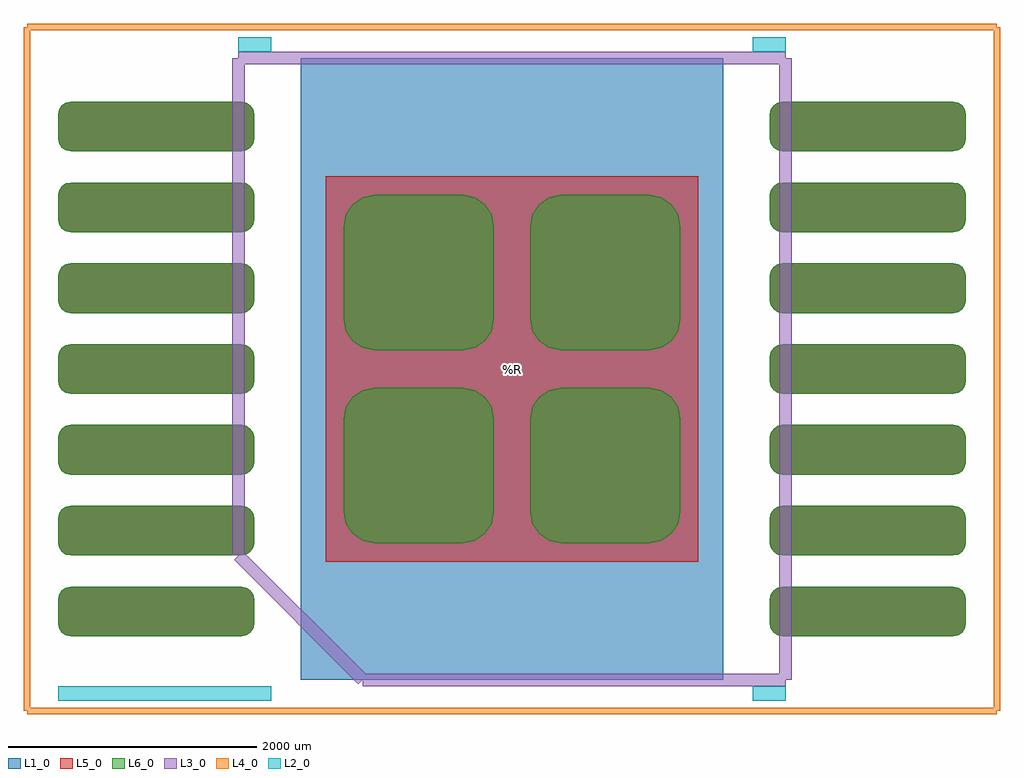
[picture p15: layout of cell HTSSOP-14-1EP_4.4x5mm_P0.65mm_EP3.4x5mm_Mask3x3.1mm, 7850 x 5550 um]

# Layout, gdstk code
import gdstk
lib = gdstk.Library(unit=1e-6, precision=1e-09)
def R(c, l, rs):  # rectangles x0, y0, x1, y1
    for r in rs: c.add(gdstk.rectangle(r[:2], r[2:], *l))
def P(c, l, *ps):  # polygons
    for p in ps: c.add(gdstk.Polygon(p, *l))
L1_0 = (1, 0)
L2_0 = (2, 0)
L3_0 = (3, 0)
L4_0 = (4, 0)
L5_0 = (5, 0)
L6_0 = (6, 0)

htssop_14_1ep_4_4x5mm_p0 = lib.new_cell('HTSSOP-14-1EP_4.4x5mm_P0.65mm_EP3.4x5mm_Mask3x3.1mm')
R(htssop_14_1ep_4_4x5mm_p0, L1_0, [(-1700,-2500,1700,2500)])
P(htssop_14_1ep_4_4x5mm_p0, L1_0, [(-2175,-2150),(-2137,-2142),(-2104,-2121),(-2083,-2088),(-2075,-2050),(-2075,-1850),(-2083,-1812),(-2104,-1779),(-2137,-1758),(-2175,-1750),(-3550,-1750),(-3588,-1758),(-3621,-1779),(-3642,-1812),(-3650,-1850),(-3650,-2050),(-3642,-2088),(-3621,-2121),(-3588,-2142),(-3550,-2150)],
  [(-2175,-1500),(-2137,-1492),(-2104,-1471),(-2083,-1438),(-2075,-1400),(-2075,-1200),(-2083,-1162),(-2104,-1129),(-2137,-1108),(-2175,-1100),(-3550,-1100),(-3588,-1108),(-3621,-1129),(-3642,-1162),(-3650,-1200),(-3650,-1400),(-3642,-1438),(-3621,-1471),(-3588,-1492),(-3550,-1500)],
  [(-2175,-850),(-2137,-842),(-2104,-821),(-2083,-788),(-2075,-750),(-2075,-550),(-2083,-512),(-2104,-479),(-2137,-458),(-2175,-450),(-3550,-450),(-3588,-458),(-3621,-479),(-3642,-512),(-3650,-550),(-3650,-750),(-3642,-788),(-3621,-821),(-3588,-842),(-3550,-850)],
  [(-2175,-200),(-2137,-192),(-2104,-171),(-2083,-138),(-2075,-100),(-2075,100),(-2083,138),(-2104,171),(-2137,192),(-2175,200),(-3550,200),(-3588,192),(-3621,171),(-3642,138),(-3650,100),(-3650,-100),(-3642,-138),(-3621,-171),(-3588,-192),(-3550,-200)],
  [(-2175,450),(-2137,458),(-2104,479),(-2083,512),(-2075,550),(-2075,750),(-2083,788),(-2104,821),(-2137,842),(-2175,850),(-3550,850),(-3588,842),(-3621,821),(-3642,788),(-3650,750),(-3650,550),(-3642,512),(-3621,479),(-3588,458),(-3550,450)],
  [(-2175,1100),(-2137,1108),(-2104,1129),(-2083,1162),(-2075,1200),(-2075,1400),(-2083,1438),(-2104,1471),(-2137,1492),(-2175,1500),(-3550,1500),(-3588,1492),(-3621,1471),(-3642,1438),(-3650,1400),(-3650,1200),(-3642,1162),(-3621,1129),(-3588,1108),(-3550,1100)],
  [(-2175,1750),(-2137,1758),(-2104,1779),(-2083,1812),(-2075,1850),(-2075,2050),(-2083,2088),(-2104,2121),(-2137,2142),(-2175,2150),(-3550,2150),(-3588,2142),(-3621,2121),(-3642,2088),(-3650,2050),(-3650,1850),(-3642,1812),(-3621,1779),(-3588,1758),(-3550,1750)],
  [(3550,1750),(3588,1758),(3621,1779),(3642,1812),(3650,1850),(3650,2050),(3642,2088),(3621,2121),(3588,2142),(3550,2150),(2175,2150),(2137,2142),(2104,2121),(2083,2088),(2075,2050),(2075,1850),(2083,1812),(2104,1779),(2137,1758),(2175,1750)],
  [(3550,1100),(3588,1108),(3621,1129),(3642,1162),(3650,1200),(3650,1400),(3642,1438),(3621,1471),(3588,1492),(3550,1500),(2175,1500),(2137,1492),(2104,1471),(2083,1438),(2075,1400),(2075,1200),(2083,1162),(2104,1129),(2137,1108),(2175,1100)],
  [(3550,450),(3588,458),(3621,479),(3642,512),(3650,550),(3650,750),(3642,788),(3621,821),(3588,842),(3550,850),(2175,850),(2137,842),(2104,821),(2083,788),(2075,750),(2075,550),(2083,512),(2104,479),(2137,458),(2175,450)],
  [(3550,-200),(3588,-192),(3621,-171),(3642,-138),(3650,-100),(3650,100),(3642,138),(3621,171),(3588,192),(3550,200),(2175,200),(2137,192),(2104,171),(2083,138),(2075,100),(2075,-100),(2083,-138),(2104,-171),(2137,-192),(2175,-200)],
  [(3550,-850),(3588,-842),(3621,-821),(3642,-788),(3650,-750),(3650,-550),(3642,-512),(3621,-479),(3588,-458),(3550,-450),(2175,-450),(2137,-458),(2104,-479),(2083,-512),(2075,-550),(2075,-750),(2083,-788),(2104,-821),(2137,-842),(2175,-850)],
  [(3550,-1500),(3588,-1492),(3621,-1471),(3642,-1438),(3650,-1400),(3650,-1200),(3642,-1162),(3621,-1129),(3588,-1108),(3550,-1100),(2175,-1100),(2137,-1108),(2104,-1129),(2083,-1162),(2075,-1200),(2075,-1400),(2083,-1438),(2104,-1471),(2137,-1492),(2175,-1500)],
  [(3550,-2150),(3588,-2142),(3621,-2121),(3642,-2088),(3650,-2050),(3650,-1850),(3642,-1812),(3621,-1779),(3588,-1758),(3550,-1750),(2175,-1750),(2137,-1758),(2104,-1779),(2083,-1812),(2075,-1850),(2075,-2050),(2083,-2088),(2104,-2121),(2137,-2142),(2175,-2150)])
R(htssop_14_1ep_4_4x5mm_p0, L5_0, [(-1500,-1550,1500,1550)])
P(htssop_14_1ep_4_4x5mm_p0, L5_0, [(-2175,-2150),(-2137,-2142),(-2104,-2121),(-2083,-2088),(-2075,-2050),(-2075,-1850),(-2083,-1812),(-2104,-1779),(-2137,-1758),(-2175,-1750),(-3550,-1750),(-3588,-1758),(-3621,-1779),(-3642,-1812),(-3650,-1850),(-3650,-2050),(-3642,-2088),(-3621,-2121),(-3588,-2142),(-3550,-2150)],
  [(-2175,-1500),(-2137,-1492),(-2104,-1471),(-2083,-1438),(-2075,-1400),(-2075,-1200),(-2083,-1162),(-2104,-1129),(-2137,-1108),(-2175,-1100),(-3550,-1100),(-3588,-1108),(-3621,-1129),(-3642,-1162),(-3650,-1200),(-3650,-1400),(-3642,-1438),(-3621,-1471),(-3588,-1492),(-3550,-1500)],
  [(-2175,-850),(-2137,-842),(-2104,-821),(-2083,-788),(-2075,-750),(-2075,-550),(-2083,-512),(-2104,-479),(-2137,-458),(-2175,-450),(-3550,-450),(-3588,-458),(-3621,-479),(-3642,-512),(-3650,-550),(-3650,-750),(-3642,-788),(-3621,-821),(-3588,-842),(-3550,-850)],
  [(-2175,-200),(-2137,-192),(-2104,-171),(-2083,-138),(-2075,-100),(-2075,100),(-2083,138),(-2104,171),(-2137,192),(-2175,200),(-3550,200),(-3588,192),(-3621,171),(-3642,138),(-3650,100),(-3650,-100),(-3642,-138),(-3621,-171),(-3588,-192),(-3550,-200)],
  [(-2175,450),(-2137,458),(-2104,479),(-2083,512),(-2075,550),(-2075,750),(-2083,788),(-2104,821),(-2137,842),(-2175,850),(-3550,850),(-3588,842),(-3621,821),(-3642,788),(-3650,750),(-3650,550),(-3642,512),(-3621,479),(-3588,458),(-3550,450)],
  [(-2175,1100),(-2137,1108),(-2104,1129),(-2083,1162),(-2075,1200),(-2075,1400),(-2083,1438),(-2104,1471),(-2137,1492),(-2175,1500),(-3550,1500),(-3588,1492),(-3621,1471),(-3642,1438),(-3650,1400),(-3650,1200),(-3642,1162),(-3621,1129),(-3588,1108),(-3550,1100)],
  [(-2175,1750),(-2137,1758),(-2104,1779),(-2083,1812),(-2075,1850),(-2075,2050),(-2083,2088),(-2104,2121),(-2137,2142),(-2175,2150),(-3550,2150),(-3588,2142),(-3621,2121),(-3642,2088),(-3650,2050),(-3650,1850),(-3642,1812),(-3621,1779),(-3588,1758),(-3550,1750)],
  [(3550,1750),(3588,1758),(3621,1779),(3642,1812),(3650,1850),(3650,2050),(3642,2088),(3621,2121),(3588,2142),(3550,2150),(2175,2150),(2137,2142),(2104,2121),(2083,2088),(2075,2050),(2075,1850),(2083,1812),(2104,1779),(2137,1758),(2175,1750)],
  [(3550,1100),(3588,1108),(3621,1129),(3642,1162),(3650,1200),(3650,1400),(3642,1438),(3621,1471),(3588,1492),(3550,1500),(2175,1500),(2137,1492),(2104,1471),(2083,1438),(2075,1400),(2075,1200),(2083,1162),(2104,1129),(2137,1108),(2175,1100)],
  [(3550,450),(3588,458),(3621,479),(3642,512),(3650,550),(3650,750),(3642,788),(3621,821),(3588,842),(3550,850),(2175,850),(2137,842),(2104,821),(2083,788),(2075,750),(2075,550),(2083,512),(2104,479),(2137,458),(2175,450)],
  [(3550,-200),(3588,-192),(3621,-171),(3642,-138),(3650,-100),(3650,100),(3642,138),(3621,171),(3588,192),(3550,200),(2175,200),(2137,192),(2104,171),(2083,138),(2075,100),(2075,-100),(2083,-138),(2104,-171),(2137,-192),(2175,-200)],
  [(3550,-850),(3588,-842),(3621,-821),(3642,-788),(3650,-750),(3650,-550),(3642,-512),(3621,-479),(3588,-458),(3550,-450),(2175,-450),(2137,-458),(2104,-479),(2083,-512),(2075,-550),(2075,-750),(2083,-788),(2104,-821),(2137,-842),(2175,-850)],
  [(3550,-1500),(3588,-1492),(3621,-1471),(3642,-1438),(3650,-1400),(3650,-1200),(3642,-1162),(3621,-1129),(3588,-1108),(3550,-1100),(2175,-1100),(2137,-1108),(2104,-1129),(2083,-1162),(2075,-1200),(2075,-1400),(2083,-1438),(2104,-1471),(2137,-1492),(2175,-1500)],
  [(3550,-2150),(3588,-2142),(3621,-2121),(3642,-2088),(3650,-2050),(3650,-1850),(3642,-1812),(3621,-1779),(3588,-1758),(3550,-1750),(2175,-1750),(2137,-1758),(2104,-1779),(2083,-1812),(2075,-1850),(2075,-2050),(2083,-2088),(2104,-2121),(2137,-2142),(2175,-2150)])
P(htssop_14_1ep_4_4x5mm_p0, L6_0, [(-2175,-2150),(-2137,-2142),(-2104,-2121),(-2083,-2088),(-2075,-2050),(-2075,-1850),(-2083,-1812),(-2104,-1779),(-2137,-1758),(-2175,-1750),(-3550,-1750),(-3588,-1758),(-3621,-1779),(-3642,-1812),(-3650,-1850),(-3650,-2050),(-3642,-2088),(-3621,-2121),(-3588,-2142),(-3550,-2150)],
  [(-2175,-1500),(-2137,-1492),(-2104,-1471),(-2083,-1438),(-2075,-1400),(-2075,-1200),(-2083,-1162),(-2104,-1129),(-2137,-1108),(-2175,-1100),(-3550,-1100),(-3588,-1108),(-3621,-1129),(-3642,-1162),(-3650,-1200),(-3650,-1400),(-3642,-1438),(-3621,-1471),(-3588,-1492),(-3550,-1500)],
  [(-2175,-850),(-2137,-842),(-2104,-821),(-2083,-788),(-2075,-750),(-2075,-550),(-2083,-512),(-2104,-479),(-2137,-458),(-2175,-450),(-3550,-450),(-3588,-458),(-3621,-479),(-3642,-512),(-3650,-550),(-3650,-750),(-3642,-788),(-3621,-821),(-3588,-842),(-3550,-850)],
  [(-2175,-200),(-2137,-192),(-2104,-171),(-2083,-138),(-2075,-100),(-2075,100),(-2083,138),(-2104,171),(-2137,192),(-2175,200),(-3550,200),(-3588,192),(-3621,171),(-3642,138),(-3650,100),(-3650,-100),(-3642,-138),(-3621,-171),(-3588,-192),(-3550,-200)],
  [(-2175,450),(-2137,458),(-2104,479),(-2083,512),(-2075,550),(-2075,750),(-2083,788),(-2104,821),(-2137,842),(-2175,850),(-3550,850),(-3588,842),(-3621,821),(-3642,788),(-3650,750),(-3650,550),(-3642,512),(-3621,479),(-3588,458),(-3550,450)],
  [(-2175,1100),(-2137,1108),(-2104,1129),(-2083,1162),(-2075,1200),(-2075,1400),(-2083,1438),(-2104,1471),(-2137,1492),(-2175,1500),(-3550,1500),(-3588,1492),(-3621,1471),(-3642,1438),(-3650,1400),(-3650,1200),(-3642,1162),(-3621,1129),(-3588,1108),(-3550,1100)],
  [(-2175,1750),(-2137,1758),(-2104,1779),(-2083,1812),(-2075,1850),(-2075,2050),(-2083,2088),(-2104,2121),(-2137,2142),(-2175,2150),(-3550,2150),(-3588,2142),(-3621,2121),(-3642,2088),(-3650,2050),(-3650,1850),(-3642,1812),(-3621,1779),(-3588,1758),(-3550,1750)],
  [(3550,1750),(3588,1758),(3621,1779),(3642,1812),(3650,1850),(3650,2050),(3642,2088),(3621,2121),(3588,2142),(3550,2150),(2175,2150),(2137,2142),(2104,2121),(2083,2088),(2075,2050),(2075,1850),(2083,1812),(2104,1779),(2137,1758),(2175,1750)],
  [(3550,1100),(3588,1108),(3621,1129),(3642,1162),(3650,1200),(3650,1400),(3642,1438),(3621,1471),(3588,1492),(3550,1500),(2175,1500),(2137,1492),(2104,1471),(2083,1438),(2075,1400),(2075,1200),(2083,1162),(2104,1129),(2137,1108),(2175,1100)],
  [(3550,450),(3588,458),(3621,479),(3642,512),(3650,550),(3650,750),(3642,788),(3621,821),(3588,842),(3550,850),(2175,850),(2137,842),(2104,821),(2083,788),(2075,750),(2075,550),(2083,512),(2104,479),(2137,458),(2175,450)],
  [(3550,-200),(3588,-192),(3621,-171),(3642,-138),(3650,-100),(3650,100),(3642,138),(3621,171),(3588,192),(3550,200),(2175,200),(2137,192),(2104,171),(2083,138),(2075,100),(2075,-100),(2083,-138),(2104,-171),(2137,-192),(2175,-200)],
  [(3550,-850),(3588,-842),(3621,-821),(3642,-788),(3650,-750),(3650,-550),(3642,-512),(3621,-479),(3588,-458),(3550,-450),(2175,-450),(2137,-458),(2104,-479),(2083,-512),(2075,-550),(2075,-750),(2083,-788),(2104,-821),(2137,-842),(2175,-850)],
  [(3550,-1500),(3588,-1492),(3621,-1471),(3642,-1438),(3650,-1400),(3650,-1200),(3642,-1162),(3621,-1129),(3588,-1108),(3550,-1100),(2175,-1100),(2137,-1108),(2104,-1129),(2083,-1162),(2075,-1200),(2075,-1400),(2083,-1438),(2104,-1471),(2137,-1492),(2175,-1500)],
  [(3550,-2150),(3588,-2142),(3621,-2121),(3642,-2088),(3650,-2050),(3650,-1850),(3642,-1812),(3621,-1779),(3588,-1758),(3550,-1750),(2175,-1750),(2137,-1758),(2104,-1779),(2083,-1812),(2075,-1850),(2075,-2050),(2083,-2088),(2104,-2121),(2137,-2142),(2175,-2150)],
  [(-395,-1400),(-299,-1381),(-218,-1327),(-164,-1246),(-145,-1150),(-145,-400),(-164,-304),(-218,-223),(-299,-169),(-395,-150),(-1105,-150),(-1201,-169),(-1282,-223),(-1336,-304),(-1355,-400),(-1355,-1150),(-1336,-1246),(-1282,-1327),(-1201,-1381),(-1105,-1400)],
  [(-395,150),(-299,169),(-218,223),(-164,304),(-145,400),(-145,1150),(-164,1246),(-218,1327),(-299,1381),(-395,1400),(-1105,1400),(-1201,1381),(-1282,1327),(-1336,1246),(-1355,1150),(-1355,400),(-1336,304),(-1282,223),(-1201,169),(-1105,150)],
  [(1105,-1400),(1201,-1381),(1282,-1327),(1336,-1246),(1355,-1150),(1355,-400),(1336,-304),(1282,-223),(1201,-169),(1105,-150),(395,-150),(299,-169),(218,-223),(164,-304),(145,-400),(145,-1150),(164,-1246),(218,-1327),(299,-1381),(395,-1400)],
  [(1105,150),(1201,169),(1282,223),(1336,304),(1355,400),(1355,1150),(1336,1246),(1282,1327),(1201,1381),(1105,1400),(395,1400),(299,1381),(218,1327),(164,1246),(145,1150),(145,400),(164,304),(218,223),(299,169),(395,150)])
htssop_14_1ep_4_4x5mm_p0.add(gdstk.FlexPath([(1936,2610),(2200,2610)], 120, ends="flush", simple_path=True, layer=2, datatype=0))  # L2_0
htssop_14_1ep_4_4x5mm_p0.add(gdstk.FlexPath([(-1936,2610),(-2200,2610)], 120, ends="flush", simple_path=True, layer=2, datatype=0))  # L2_0
htssop_14_1ep_4_4x5mm_p0.add(gdstk.FlexPath([(1936,-2610),(2200,-2610)], 120, ends="flush", simple_path=True, layer=2, datatype=0))  # L2_0
htssop_14_1ep_4_4x5mm_p0.add(gdstk.FlexPath([(-1936,-2610),(-3650,-2610)], 120, ends="flush", simple_path=True, layer=2, datatype=0))  # L2_0
htssop_14_1ep_4_4x5mm_p0.add(gdstk.FlexPath([(-1200,-2500),(2200,-2500)], 100, ends="flush", simple_path=True, layer=3, datatype=0))  # L3_0
htssop_14_1ep_4_4x5mm_p0.add(gdstk.FlexPath([(2200,-2500),(2200,2500)], 100, ends="flush", simple_path=True, layer=3, datatype=0))  # L3_0
htssop_14_1ep_4_4x5mm_p0.add(gdstk.FlexPath([(2200,2500),(-2200,2500)], 100, ends="flush", simple_path=True, layer=3, datatype=0))  # L3_0
htssop_14_1ep_4_4x5mm_p0.add(gdstk.FlexPath([(-2200,2500),(-2200,-1500)], 100, ends="flush", simple_path=True, layer=3, datatype=0))  # L3_0
htssop_14_1ep_4_4x5mm_p0.add(gdstk.FlexPath([(-2200,-1500),(-1200,-2500)], 100, ends="flush", simple_path=True, layer=3, datatype=0))  # L3_0
htssop_14_1ep_4_4x5mm_p0.add(gdstk.FlexPath([(-3900,-2750),(-3900,2750)], 50, ends="flush", simple_path=True, layer=4, datatype=0))  # L4_0
htssop_14_1ep_4_4x5mm_p0.add(gdstk.FlexPath([(-3900,2750),(3900,2750)], 50, ends="flush", simple_path=True, layer=4, datatype=0))  # L4_0
htssop_14_1ep_4_4x5mm_p0.add(gdstk.FlexPath([(3900,2750),(3900,-2750)], 50, ends="flush", simple_path=True, layer=4, datatype=0))  # L4_0
htssop_14_1ep_4_4x5mm_p0.add(gdstk.FlexPath([(3900,-2750),(-3900,-2750)], 50, ends="flush", simple_path=True, layer=4, datatype=0))  # L4_0
htssop_14_1ep_4_4x5mm_p0.add(gdstk.Label('REF**', (0,-3450), layer=2, texttype=0))
htssop_14_1ep_4_4x5mm_p0.add(gdstk.Label('HTSSOP-14-1EP_4.4x5mm_P0.65mm_EP3.4x5mm_Mask3x3.1mm', (0,3450), layer=3, texttype=0))
htssop_14_1ep_4_4x5mm_p0.add(gdstk.Label('%R', (0,0), layer=3, texttype=0))

lib.write_gds('HTSSOP-14-1EP_4.4x5mm_P0.65mm_EP3.4x5mm_Mask3x3.1mm.gds')
